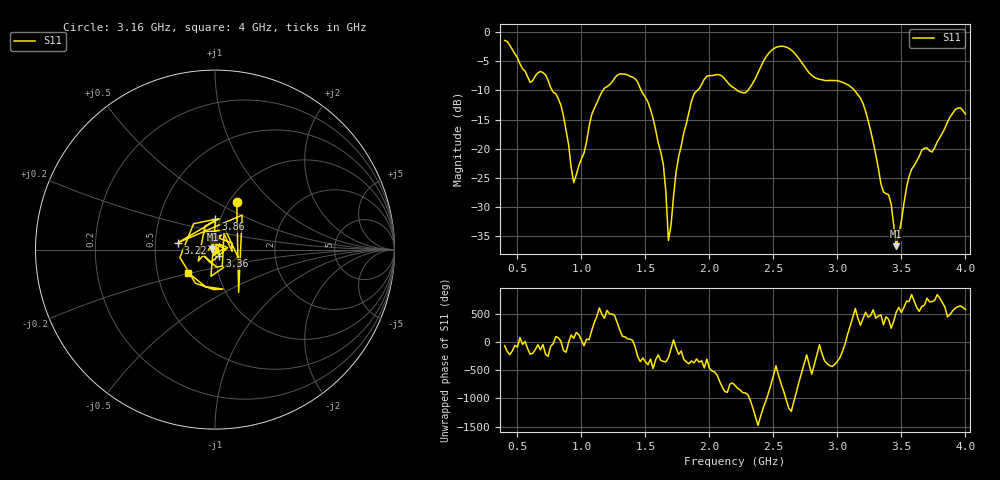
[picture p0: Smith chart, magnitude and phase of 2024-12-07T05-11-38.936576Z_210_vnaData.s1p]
!Created with skrf (http://scikit-rf.org).
# Hz S RI R 50.0
!freq ReS11 ImS11
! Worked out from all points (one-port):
!   181 points, 400 MHz to 4 GHz, reference 50 ohm
!   lowest |S11| = -36.8 dB at 3.46 GHz (marker M1), VSWR 1.03, Z = 48.6 + j0.15 ohm
!   |S11| at or under -10 dB: 772.5 MHz to 1.168 GHz (395.3 MHz wide, 40.7 % of centre); 1.468 GHz to 1.905 GHz (436.8 MHz wide, 25.9 % of centre); 3.134 GHz to end of sweep (the widest 3 of 4)
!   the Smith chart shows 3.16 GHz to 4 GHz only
!   S11 on the Smith chart (normalised r, x): 3.16 GHz: 1.09, +0.63; 3.22 GHz: 0.66, +0.05; 3.36 GHz: 1.05, -0.07; 3.86 GHz: 0.95, +0.33; 4 GHz: 0.72, -0.19
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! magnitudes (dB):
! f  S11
! 400 MHz  -1.4
! 600 MHz  -8.6
! 720 MHz  -7.3
! 860 MHz  -14.4
! 940 MHz  -25.9
! 1.1 GHz  -13.1
! 1.3 GHz  -7.1
! 1.42 GHz  -8.0
! 1.54 GHz  -13.3
! 1.64 GHz  -22.7
! 1.68 GHz  -35.8
! 1.76 GHz  -21.4
! 1.86 GHz  -11.8
! 1.96 GHz  -8.1
! 2.2 GHz  -9.7
! 2.3 GHz  -10.0
! 2.5 GHz  -2.9
! 2.66 GHz  -3.5
! 2.82 GHz  -7.7
! 3.1 GHz  -9.3
! 3.16 GHz  -10.7
! 3.22 GHz  -13.6
! 3.36 GHz  -27.4
! 3.42 GHz  -29.5
! 3.46 GHz  -36.8
! 3.56 GHz  -24.8
! 3.86 GHz  -15.5
! 4 GHz  -14.1
